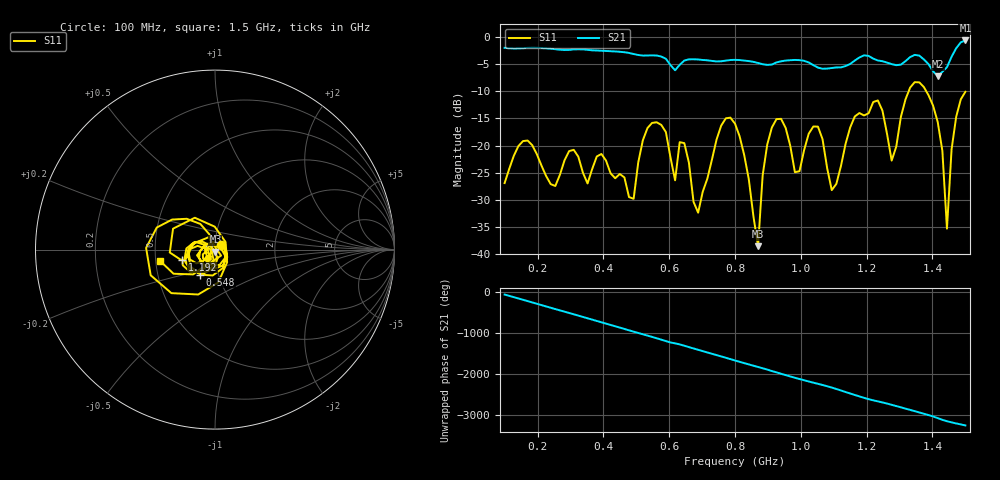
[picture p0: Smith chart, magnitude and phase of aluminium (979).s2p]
! NanoVNA-App
! Date: 2025-09-25 15:02:54
! Start: 100MHz Stop: 1,5GHz Points: 101
! S-Parameter data: F S11 S21 S12 S22
# Hz S RI R 50
!  Frequency  S11_Real  S11_Imag  S21_Real  S21_Imag  S12_Real  S12_Imag  S22_Real  S22_Imag
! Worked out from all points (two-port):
!   101 points, 100 MHz to 1.5 GHz, reference 50 ohm
!   highest |S21| = -0.56 dB at 1.5 GHz (marker M1); lowest = -7.2 dB at 1.416 GHz (marker M2)
!   |S21| within 3 dB of the highest: start of sweep to 576.7 MHz; 1.458 GHz to end of sweep (the widest 2 of 4)
!   lowest |S11| = -38.6 dB at 870 MHz (marker M3), VSWR 1.02, Z = 50.2 - j1.15 ohm
!   |S11| at or under -10 dB: start of sweep to 1.327 GHz; 1.381 GHz to end of sweep
!   S12 and S22 are empty: the file has one direction only
!   S11 on the Smith chart (normalised r, x): 100 MHz: 1.07, +0.06; 548 MHz: 0.82, -0.23; 1.192 GHz: 0.69, -0.08; 1.5 GHz: 0.53, -0.07
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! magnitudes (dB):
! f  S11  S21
! 100 MHz  -27.0  -1.9
! 156 MHz  -19.2  -2.0
! 338 MHz  -25.0  -2.2
! 492 MHz  -29.9  -3.1
! 548 MHz  -15.8  -3.3
! 576 MHz  -16.2  -3.5
! 646 MHz  -19.6  -4.3
! 688 MHz  -32.4  -4.1
! 800 MHz  -16.0  -4.1
! 870 MHz  -38.6  -4.7
! 912 MHz  -16.7  -5.0
! 982 MHz  -24.9  -4.2
! 1.038 GHz  -16.5  -5.1
! 1.094 GHz  -28.3  -5.7
! 1.192 GHz  -14.4  -3.3
! 1.234 GHz  -11.7  -4.3
! 1.276 GHz  -22.8  -4.9
! 1.346 GHz  -8.3  -3.2
! 1.416 GHz  -15.7  -7.2
! 1.444 GHz  -35.4  -5.5
! 1.458 GHz  -20.7  -3.6
! 1.5 GHz  -10.1  -0.6
